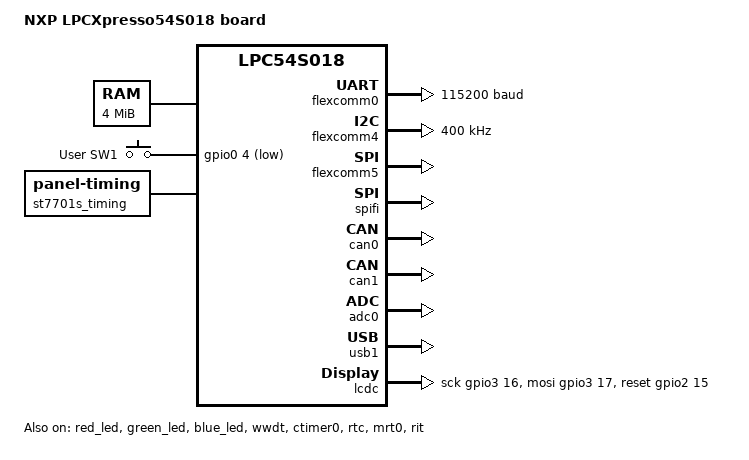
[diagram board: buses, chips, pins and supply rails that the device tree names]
/*
 * Private Porting
 * by David Hor - Xtooltech 2025
 * david.hor@xtooltech.com
 */

/dts-v1/;

#include <nxp/nxp_lpc54s018.dtsi>
#include "lpcxpresso54s018.dtsi"
#include <zephyr/dt-bindings/input/input-event-codes.h>
#include <zephyr/dt-bindings/memory-attr/memory-attr-arm.h>

/ {
	model = "NXP LPCXpresso54S018 board";
	compatible = "nxp,lpc54s018", "nxp,lpc";

	aliases{
		sw0 = &user_button_1;
		led0 = &red_led;
		watchdog0 = &wwdt;
	};

	/* Memory-mapped SPIFI flash region for execute-in-place (XIP) */
	memory@10000000 {
		device_type = "memory";
		reg = <0x10000000 0x400000>;  /* 4MB QSPI flash memory-mapped for XIP */
	};

	/* External SDRAM memory region (optional, requires EMC initialization) */
	sdram0: memory@a0000000 {
		compatible = "zephyr,memory-region", "mmio-sram";
		device_type = "memory";
		reg = <0xa0000000 DT_SIZE_M(16)>;
		zephyr,memory-region = "SDRAM";
		zephyr,memory-attr = <( DT_MEM_ARM(ATTR_MPU_RAM) )>;
		status = "disabled"; /* Enable in overlay when SDRAM is connected */
	};

	chosen {
		zephyr,sram = &sram0;
		zephyr,flash = &w25q32jv; /* Use external SPIFI flash */
		zephyr,flash-controller = &spifi;
		zephyr,console = &flexcomm0;
		zephyr,shell-uart = &flexcomm0;
		zephyr,code-partition = &slot0_partition;
		zephyr,uart-mcumgr = &flexcomm0;
		zephyr,canbus = &can0;
	};

	gpio_keys {
		compatible = "gpio-keys";
		user_button_1: button_0 {
			label = "User SW1";
			gpios = <&gpio0 4 (GPIO_ACTIVE_LOW | GPIO_PULL_UP)>; /* Actual LPC54S018M SW1 pin */
			zephyr,code = <INPUT_KEY_0>;
		};
	};

	/* Panel timing for 480x800 ST7701S LCD */
	st7701s_timing: panel-timing {
		compatible = "panel-timing";
		clock-frequency = <27000000>;  /* 27MHz pixel clock */
		hactive = <480>;
		vactive = <800>;
		hsync-len = <4>;
		hfront-porch = <1>;
		hback-porch = <1>;
		vsync-len = <1>;
		vfront-porch = <1>;
		vback-porch = <1>;
		hsync-active = <0>;  /* Active low */
		vsync-active = <0>;  /* Active low */
		de-active = <1>;     /* Active high */
		pixelclk-active = <0>; /* Data on falling edge */
	};
};

/*
 * LPC54S018 is single-core M4, so we can allocate all SRAM to M4
 * Total 360KB SRAM: 192KB SRAMX + 64KB SRAM0 + 64KB SRAM1 + 32KB SRAM2 + 8KB USB
 * Unlike LPC54114 dual-core, no need to share memory between cores
 */
&sram0 {
	compatible = "mmio-sram";
	reg = <0x20000000 DT_SIZE_K(64)>; /* SRAM0: 64KB main SRAM */
};

&cpu0 {
	clock-frequency = <180000000>; /* LPC54S018 runs at 180MHz max */
};

/* LPC54S018 single-core - mailbox not needed for inter-core communication */
&mailbox0 {
	status = "disabled";
};

&red_led {
	status = "okay";
};

&green_led {
	status = "okay";
};

&blue_led {
	status = "okay";
};

&flexcomm0 {
	compatible = "nxp,lpc-usart";
	status = "okay";
	current-speed = <115200>;
	pinctrl-0 = <&pinmux_flexcomm0_uart>;
	pinctrl-names = "default";
};

&flexcomm4 {
	compatible = "nxp,lpc-i2c";
	status = "okay";
	clock-frequency = <I2C_BITRATE_FAST>;
	pinctrl-0 = <&pinmux_flexcomm4_i2c>;
	pinctrl-names = "default";
};

&flexcomm5 {
	compatible = "nxp,lpc-spi";
	status = "okay";
	pinctrl-0 = <&pinmux_flexcomm5_spi>;
	pinctrl-names = "default";
	#address-cells = <1>;
	#size-cells = <0>;
};

/* Enable SPIFI controller for external flash */
&spifi {
	status = "okay";
	pinctrl-0 = <&pinmux_spifi>;
	pinctrl-names = "default";
};

/* Disable internal flash controller - using external SPIFI flash */
&iap {
	status = "disabled";
};

/* Enable CAN0 */
&can0 {
	status = "okay";
	pinctrl-0 = <&can0_default>;
	pinctrl-names = "default";
};

/* Enable CAN1 */
&can1 {
	status = "okay";
	pinctrl-0 = <&can1_default>;
	pinctrl-names = "default";
};

/* Enable Watchdog */
&wwdt {
	status = "okay";
};

/* Enable ADC0 */
&adc0 {
	status = "okay";
	pinctrl-0 = <&adc0_default>;
	pinctrl-names = "default";
};

/* Enable CTIMER0 for general purpose timing */
&ctimer0 {
	status = "okay";
};

/* Enable RTC */
&rtc {
	status = "okay";
};

/* USB configuration - device mode by default */
zephyr_udc0: &usb1 {
	status = "okay";
};

/* Enable Watchdog */
&wwdt {
	status = "okay";
};

/* Enable ADC0 */
&adc0 {
	status = "okay";
};

/* Enable MRT0 (Multi-Rate Timer) */
&mrt0 {
	status = "okay";
	ch0: channel@0 {
		compatible = "nxp,mrt-channel";
		reg = <0>;
		status = "okay";
	};
	ch1: channel@1 {
		compatible = "nxp,mrt-channel";
		reg = <1>;
		status = "okay";
	};
};

/* Enable RIT (Repetitive Interrupt Timer) */
&rit {
	status = "okay";
};

/* Enable LCD Controller */
&lcdc {
	status = "okay";
	pinctrl-0 = <&pinmux_lcdc &pinmux_st7701s_spi>;
	pinctrl-names = "default";
	
	width = <480>;
	height = <800>;
	bits-per-pixel = <16>;  /* RGB565 */
	display-type = "TFT";
	panel-timings = <&st7701s_timing>;
	
	/* Backlight control on P0.22 */
	backlight-gpios = <&gpio0 22 GPIO_ACTIVE_HIGH>;
	
	/* ST7701S initialization via bit-bang SPI */
	st7701s-spi-init;
	reset-gpios = <&gpio2 15 GPIO_ACTIVE_HIGH>;  /* P2.15 */
	cs-gpios = <&gpio3 15 GPIO_ACTIVE_LOW>;      /* P3.15 */
	sck-gpios = <&gpio3 16 GPIO_ACTIVE_HIGH>;    /* P3.16 */
	mosi-gpios = <&gpio3 17 GPIO_ACTIVE_HIGH>;   /* P3.17 */
};
